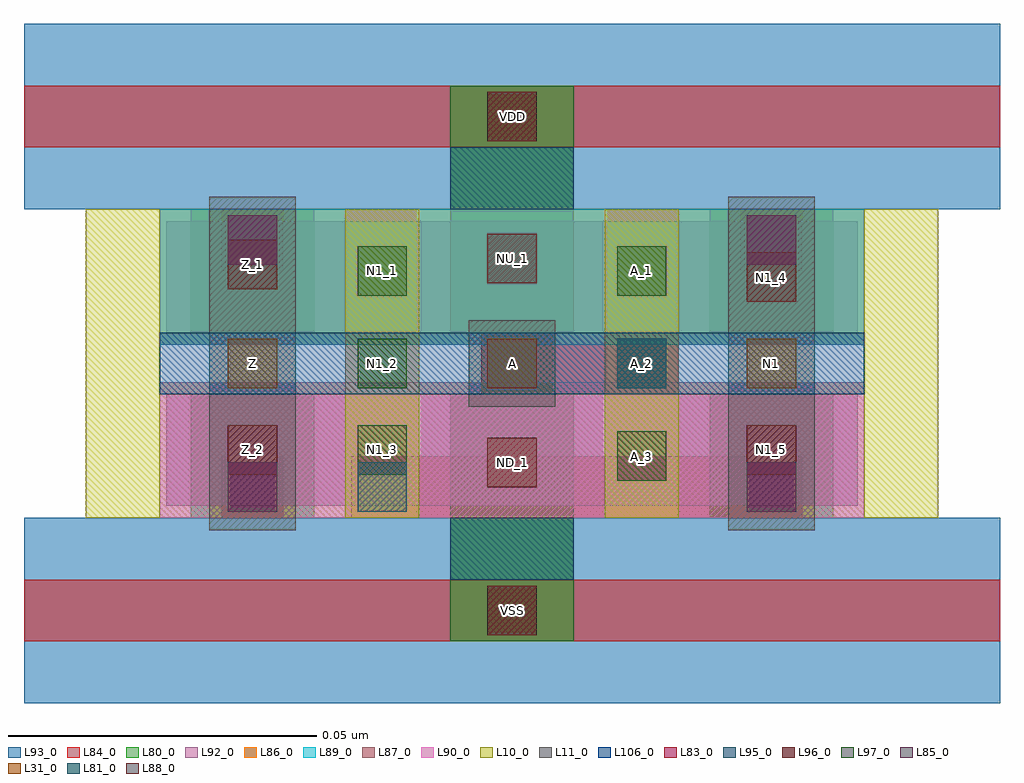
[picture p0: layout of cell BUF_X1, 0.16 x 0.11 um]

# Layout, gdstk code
import gdstk
lib = gdstk.Library(unit=1e-6, precision=1e-09)
def R(c, l, rs):  # rectangles x0, y0, x1, y1
    for r in rs: c.add(gdstk.rectangle(r[:2], r[2:], *l))
def A(c, l, x, y, w, h, nx, ny, dx, dy):  # array of equal rectangles
    R(c, l, [(x+i*dx, y+j*dy, x+i*dx+w, y+j*dy+h) for i in range(nx) for j in range(ny)])
L10_0 = (10, 0)
L11_0 = (11, 0)
L31_0 = (31, 0)
L80_0 = (80, 0)
L81_0 = (81, 0)
L83_0 = (83, 0)
L84_0 = (84, 0)
L85_0 = (85, 0)
L86_0 = (86, 0)
L87_0 = (87, 0)
L88_0 = (88, 0)
L89_0 = (89, 0)
L90_0 = (90, 0)
L92_0 = (92, 0)
L93_0 = (93, 0)
L95_0 = (95, 0)
L96_0 = (96, 0)
L97_0 = (97, 0)
L106_0 = (106, 0)

buf_x1 = lib.new_cell('BUF_X1')
A(buf_x1, L10_0, -0.027, 0.015, 0.012, 0.05, 4, 1, 0.042, 0)
R(buf_x1, L11_0, [(-0.007,0.013,0.007,0.047), (0.077,0.013,0.091,0.047), (-0.007,0.033,0.007,0.067), (0.035,0.033,0.049,0.047), (0.077,0.033,0.091,0.067)])
A(buf_x1, L31_0, -0.004, 0.036, 0.008, 0.008, 3, 1, 0.042, 0)
A(buf_x1, L80_0, -0.01, 0.015, 0.02, 0.02, 3, 1, 0.042, 0)
R(buf_x1, L80_0, [(0.032,-0.005,0.052,0.016), (-0.01,0.045,0.01,0.065), (-0.01,0.045,0.01,0.065), (0.032,0.045,0.052,0.065), (0.032,0.045,0.052,0.065), (0.074,0.045,0.094,0.065), (0.074,0.045,0.094,0.065), (0.032,0.056,0.052,0.085)])
R(buf_x1, L81_0, [(0.017,0.016,0.025,0.024), (0.059,0.036,0.067,0.044)])
R(buf_x1, L83_0, [(0.038,-0.004,0.046,0.004), (-0.004,0.016,0.004,0.024), (0.08,0.016,0.088,0.024), (-0.004,0.056,0.004,0.064), (-0.004,0.056,0.004,0.064), (0.08,0.056,0.088,0.064), (0.08,0.056,0.088,0.064), (0.038,0.076,0.046,0.084)])
A(buf_x1, L84_0, 0.016, 0.015, 0.031, 0.01, 3, 1, 0.021, 0)
R(buf_x1, L84_0, [(-0.037,-0.005,0.121,0.005), (-0.005,0.015,0.005,0.025), (0.037,0.035,0.069,0.045), (-0.005,0.055,0.005,0.065), (0.079,0.055,0.089,0.065), (-0.037,0.075,0.121,0.085)])
R(buf_x1, L85_0, [(-0.004,0.016,0.004,0.024), (0.08,0.016,0.088,0.024), (0.038,0.036,0.046,0.044), (-0.004,0.056,0.004,0.064), (0.08,0.056,0.088,0.064)])
R(buf_x1, L86_0, [(-0.015,0.043,0.099,0.065)])
R(buf_x1, L87_0, [(-0.015,0.015,0.099,0.037)])
R(buf_x1, L88_0, [(0.038,-0.004,0.046,0.004), (0.038,0.076,0.046,0.084)])
R(buf_x1, L89_0, [(-0.015,0.043,0.099,0.065)])
R(buf_x1, L90_0, [(-0.015,0.015,0.099,0.037)])
R(buf_x1, L92_0, [(-0.014,0.017,0.098,0.035), (-0.014,0.045,0.098,0.063)])
R(buf_x1, L93_0, [(-0.037,-0.015,0.121,0.015), (-0.037,0.065,0.121,0.095)])
R(buf_x1, L95_0, [(0.032,0.005,0.052,0.015), (0.032,0.065,0.052,0.075)])
R(buf_x1, L96_0, [(0.038,0.02,0.046,0.028), (-0.004,0.022,0.004,0.03), (0.08,0.022,0.088,0.03), (0.08,0.05,0.088,0.058), (-0.004,0.052,0.004,0.06), (0.038,0.053,0.046,0.061)])
A(buf_x1, L97_0, 0.059, 0.021, 0.008, 0.008, 1, 3, 0, 0.015)
R(buf_x1, L97_0, [(0.017,0.022,0.025,0.03), (0.017,0.036,0.025,0.044), (0.017,0.051,0.025,0.059)])
R(buf_x1, L106_0, [(-0.015,0.035,0.099,0.045)])
buf_x1.add(gdstk.Label('A', (0.042,0.04), layer=31, texttype=0))
buf_x1.add(gdstk.Label('Z', (0,0.04), layer=31, texttype=0))
buf_x1.add(gdstk.Label('N1', (0.084,0.04), layer=31, texttype=0))
buf_x1.add(gdstk.Label('NU_1', (0.042,0.057), layer=96, texttype=0))
buf_x1.add(gdstk.Label('ND_1', (0.042,0.024), layer=96, texttype=0))
buf_x1.add(gdstk.Label('Z_2', (0,0.026), layer=96, texttype=0))
buf_x1.add(gdstk.Label('Z_1', (0,0.056), layer=96, texttype=0))
buf_x1.add(gdstk.Label('N1_5', (0.084,0.026), layer=96, texttype=0))
buf_x1.add(gdstk.Label('N1_4', (0.084,0.054), layer=96, texttype=0))
buf_x1.add(gdstk.Label('A_3', (0.063,0.025), layer=97, texttype=0))
buf_x1.add(gdstk.Label('A_1', (0.063,0.055), layer=97, texttype=0))
buf_x1.add(gdstk.Label('A_2', (0.063,0.04), layer=97, texttype=0))
buf_x1.add(gdstk.Label('N1_3', (0.021,0.026), layer=97, texttype=0))
buf_x1.add(gdstk.Label('N1_2', (0.021,0.04), layer=97, texttype=0))
buf_x1.add(gdstk.Label('N1_1', (0.021,0.055), layer=97, texttype=0))
buf_x1.add(gdstk.Label('VSS', (0.042,0), layer=88, texttype=0))
buf_x1.add(gdstk.Label('VDD', (0.042,0.08), layer=88, texttype=0))

lib.write_gds('BUF_X1.gds')
